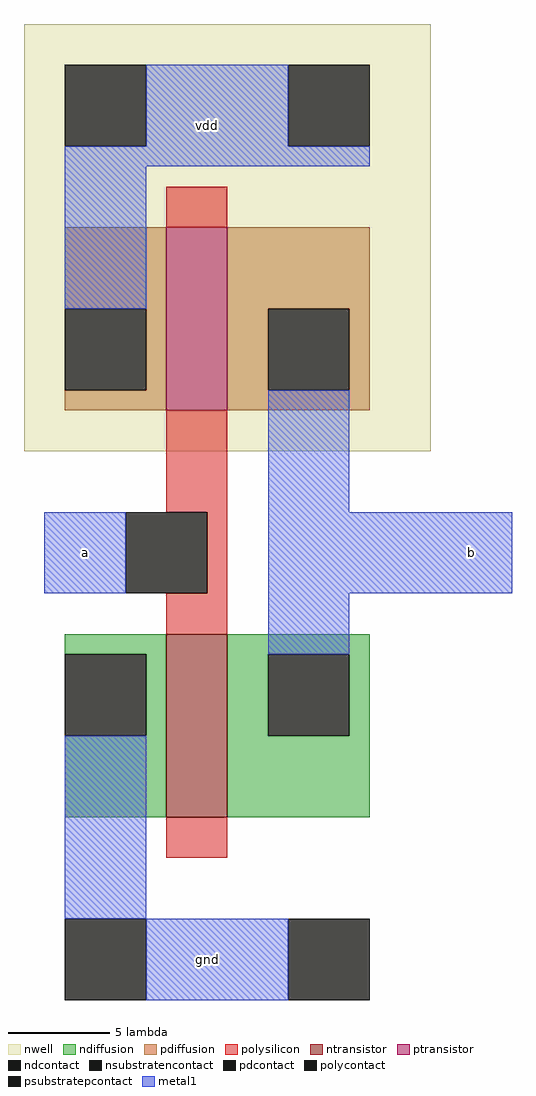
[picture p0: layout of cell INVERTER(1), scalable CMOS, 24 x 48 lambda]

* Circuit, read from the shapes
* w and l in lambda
.subckt INVERTER(1) a b gnd vdd
M1 b a gnd gnd nfet w=9 l=3
M2 b a vdd vdd pfet w=9 l=3
.ends

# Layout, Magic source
magic
tech scmos
<< nwell >>
rect -6 -2 14 19
<< polysilicon >>
rect 1 9 4 11
rect 1 -5 4 0
rect 3 -9 4 -5
rect 1 -11 4 -9
rect 1 -22 4 -20
<< ndiffusion >>
rect -4 -12 1 -11
rect 0 -16 1 -12
rect -4 -20 1 -16
rect 4 -12 11 -11
rect 4 -16 6 -12
rect 10 -16 11 -12
rect 4 -20 11 -16
<< pdiffusion >>
rect -4 5 1 9
rect 0 1 1 5
rect -4 0 1 1
rect 4 5 11 9
rect 4 1 6 5
rect 10 1 11 5
rect 4 0 11 1
<< metal1 >>
rect 0 13 7 17
rect -4 12 11 13
rect -4 5 0 12
rect 6 -5 10 1
rect -5 -9 -1 -5
rect 6 -9 18 -5
rect 6 -12 10 -9
rect -4 -25 0 -16
rect 0 -29 7 -25
<< ntransistor >>
rect 1 -20 4 -11
<< ptransistor >>
rect 1 0 4 9
<< polycontact >>
rect -1 -9 3 -5
<< ndcontact >>
rect -4 -16 0 -12
rect 6 -16 10 -12
<< pdcontact >>
rect -4 1 0 5
rect 6 1 10 5
<< psubstratepcontact >>
rect -4 -29 0 -25
rect 7 -29 11 -25
<< nsubstratencontact >>
rect -4 13 0 17
rect 7 13 11 17
<< labels >>
rlabel metal1 3 14 3 14 5 vdd
rlabel metal1 3 -27 3 -27 1 gnd
rlabel metal1 -3 -7 -3 -7 3 a
rlabel metal1 16 -7 16 -7 7 b
<< end >>
